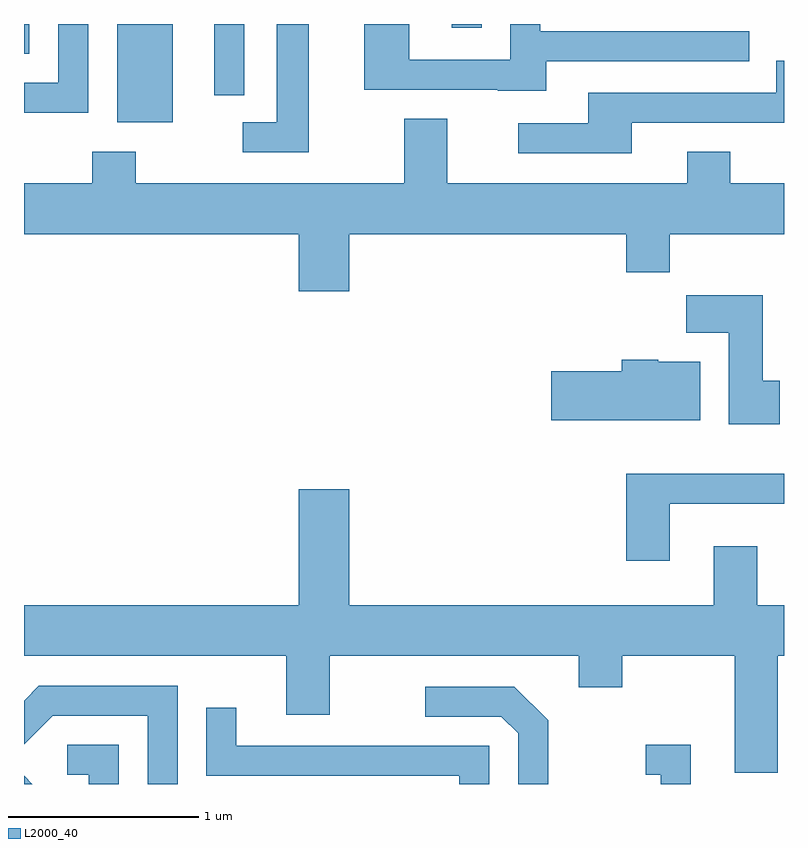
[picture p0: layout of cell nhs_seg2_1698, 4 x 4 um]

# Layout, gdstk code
import gdstk
lib = gdstk.Library(unit=1e-6, precision=1e-09)
def R(c, l, rs):  # rectangles x0, y0, x1, y1
    for r in rs: c.add(gdstk.rectangle(r[:2], r[2:], *l))
def P(c, l, *ps):  # polygons
    for p in ps: c.add(gdstk.Polygon(p, *l))
L2000_40 = (2000, 40)

nhs_seg2_1698 = lib.new_cell('nhs_seg2_1698')
R(nhs_seg2_1698, L2000_40, [(234.101,1113.286,234.394,1113.802), (234.611,1113.428,234.769,1113.802), (233.611,1113.646,233.639,1113.802), (235.861,1113.783,236.019,1113.802)])
P(nhs_seg2_1698, L2000_40, [(236.359,1113.606),(237.428,1113.606),(237.428,1113.764),(236.329,1113.764),(236.329,1113.802),(236.171,1113.802),(236.171,1113.614),(235.639,1113.614),(235.639,1113.802),(235.401,1113.802),(235.401,1113.456),(236.105,1113.456),(236.105,1113.451),(236.359,1113.451)],
  [(235.109,1113.802),(234.941,1113.802),(234.941,1113.284),(234.763,1113.284),(234.763,1113.126),(235.109,1113.126)],
  [(233.949,1113.802),(233.791,1113.802),(233.791,1113.494),(233.611,1113.494),(233.611,1113.336),(233.949,1113.336)],
  [(236.809,1113.281),(237.611,1113.281),(237.611,1113.609),(237.571,1113.609),(237.571,1113.439),(236.581,1113.439),(236.581,1113.279),(236.213,1113.279),(236.213,1113.121),(236.809,1113.121)],
  [(235.324,1112.696),(236.781,1112.696),(236.781,1112.496),(237.009,1112.496),(237.009,1112.696),(237.611,1112.696),(237.611,1112.964),(237.329,1112.964),(237.329,1113.129),(237.101,1113.129),(237.101,1112.964),(235.839,1112.964),(235.839,1113.304),(235.611,1113.304),(235.611,1112.964),(234.199,1112.964),(234.199,1113.129),(233.971,1113.129),(233.971,1112.964),(233.611,1112.964),(233.611,1112.696),(235.056,1112.696),(235.056,1112.396),(235.324,1112.396)],
  [(237.589,1111.924),(237.499,1111.924),(237.499,1112.374),(237.096,1112.374),(237.096,1112.176),(237.321,1112.176),(237.321,1111.696),(237.589,1111.696)],
  [(237.169,1112.024),(236.95,1112.024),(236.95,1112.034),(236.756,1112.034),(236.756,1111.974),(236.386,1111.974),(236.386,1111.716),(237.169,1111.716)],
  [(237.009,1111.276),(237.611,1111.276),(237.611,1111.434),(236.781,1111.434),(236.781,1110.976),(237.009,1110.976)],
  [(237.579,1110.476),(237.611,1110.476),(237.611,1110.744),(237.469,1110.744),(237.469,1111.054),(237.241,1111.054),(237.241,1110.744),(235.324,1110.744),(235.324,1111.354),(235.056,1111.354),(235.056,1110.744),(233.611,1110.744),(233.611,1110.476),(234.991,1110.476),(234.991,1110.166),(235.219,1110.166),(235.219,1110.476),(236.531,1110.476),(236.531,1110.311),(236.759,1110.311),(236.759,1110.476),(237.351,1110.476),(237.351,1109.861),(237.579,1109.861)],
  [(234.419,1110.319),(233.689,1110.319),(233.611,1110.241),(233.611,1110.01),(233.762,1110.161),(234.261,1110.161),(234.261,1109.802),(234.419,1109.802)],
  [(236.369,1110.137),(236.192,1110.314),(235.723,1110.314),(235.723,1110.156),(236.124,1110.156),(236.211,1110.069),(236.211,1109.802),(236.369,1109.802)],
  [(236.059,1110.004),(234.729,1110.004),(234.729,1110.203),(234.571,1110.203),(234.571,1109.846),(235.901,1109.846),(235.901,1109.802),(236.059,1109.802)],
  [(237.119,1110.009),(236.883,1110.009),(236.883,1109.851),(236.961,1109.851),(236.961,1109.802),(237.119,1109.802)],
  [(234.109,1110.009),(233.838,1110.009),(233.838,1109.851),(233.951,1109.851),(233.951,1109.802),(234.109,1109.802)],
  [(233.611,1109.845),(233.611,1109.802),(233.654,1109.802)])

lib.write_gds('nhs_seg2_1698.gds')
